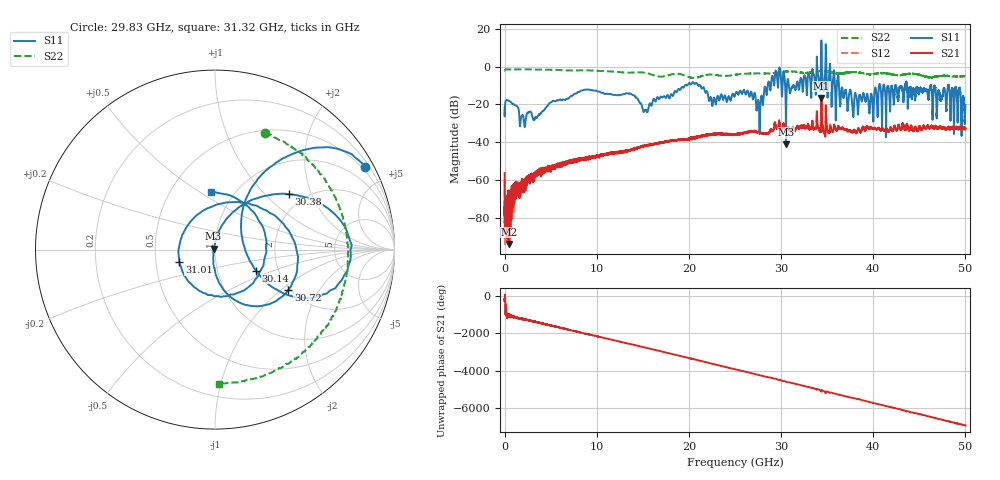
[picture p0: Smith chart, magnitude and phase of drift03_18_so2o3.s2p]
!Created with skrf (http://scikit-rf.org).
# Hz S RI R 50.0
!freq ReS11 ImS11 ReS21 ImS21 ReS12 ImS12 ReS22 ImS22
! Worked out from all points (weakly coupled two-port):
!   10001 points, 300 kHz to 50 GHz, reference 50 ohm
!   highest |S21| = -16.61 dB at 34.37 GHz (marker M1); lowest = -93.8 dB at 520.3 MHz (marker M2)
!   lowest |S11| = -41.0 dB at 30.53 GHz (marker M3), VSWR 1.02, Z = 49.2 + j0.45 ohm
!   |S11| at or under -10 dB: start of sweep to 19.56 GHz; 21.25 GHz to 28.55 GHz (7.295 GHz wide, 29.3 % of centre); 36.28 GHz to 40.63 GHz (4.345 GHz wide, 11.3 % of centre) (the widest 3 of 37)
!   |S22| runs from -5.9 to -1.3 dB; largest |S21 - S12| = 0.027
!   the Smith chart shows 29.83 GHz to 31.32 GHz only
!   S11 on the Smith chart (normalised r, x): 29.83 GHz: 0.35, +3.86; 30.14 GHz: 1.53, -0.39; 30.38 GHz: 1.67, +1.40; 30.72 GHz: 1.95, -1.12; 31.01 GHz: 0.66, -0.09; 31.32 GHz: 0.78, +0.56
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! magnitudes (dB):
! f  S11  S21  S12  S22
! 300 kHz  -21.8  -56.4  -59.5  -2.1
! 520.3 MHz  -18.1  -93.8  -69.6  -1.5
! 3.3 GHz  -27.3  -56.8  -57.4  -1.5
! 8.335 GHz  -12.6  -48.4  -49.1  -1.9
! 15.29 GHz  -22.8  -41.8  -41.7  -3.3
! 16.67 GHz  -16.5  -40.6  -40.6  -5.2
! 20.26 GHz  -9.2  -38.5  -37.7  -5.8
! 22.71 GHz  -16.5  -35.7  -35.7  -4.2
! 25 GHz  -15.2  -35.6  -35.9  -4.3
! 27.53 GHz  -17.9  -34.5  -34.4  -3.5
! 29.83 GHz  -0.4  -29.3  -28.6  -3.0
! 30.14 GHz  -11.8  -33.2  -33.5  -2.8
! 30.38 GHz  -5.8  -32.3  -32.7  -2.6
! 30.53 GHz  -41.0  -33.9  -34.1  -2.6
! 30.72 GHz  -6.6  -32.8  -32.8  -2.5
! 31.01 GHz  -13.5  -34.3  -34.4  -2.4
! 31.32 GHz  -9.9  -32.6  -32.4  -2.5
! 33.34 GHz  -7.4  -31.3  -31.3  -2.9
! 34.37 GHz  13.9  -16.6  -18.1  -2.3
! 37.84 GHz  -26.5  -33.7  -34.3  -2.7
! 41.67 GHz  -11.6  -34.3  -34.1  -3.8
! 50 GHz  -20.2  -32.5  -32.9  -5.0
